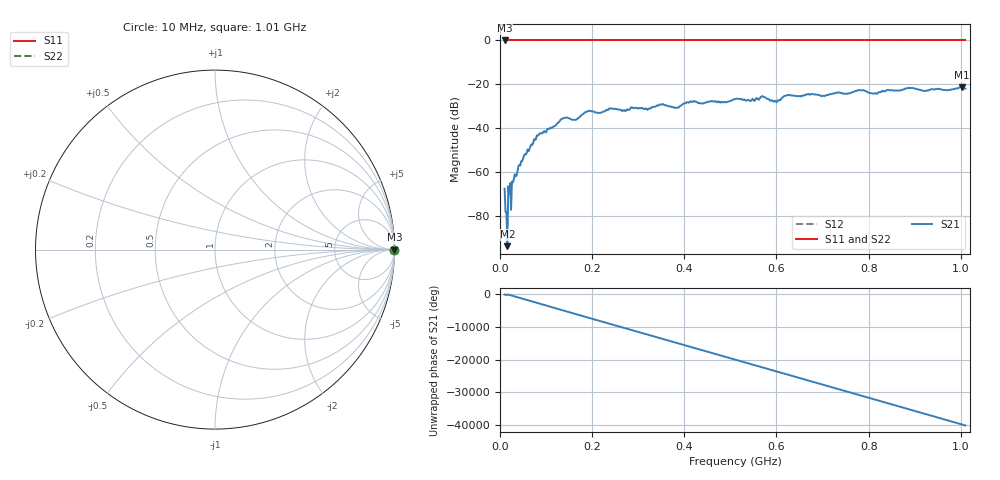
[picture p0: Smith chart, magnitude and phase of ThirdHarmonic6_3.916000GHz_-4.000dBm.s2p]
! 8/17/2025 1:48:24 PM
! C:\ANRITSUVNA\TEMP\TEMP.S2P
! CHANNEL.1
! TR.MEASUREMENT
! RAW.DATA
! RF.CORRECTION.OFF
! AVERAGING.OFF
! IF.BANDWIDTH: 5KHZ
! SWEEPTYPE:  FREQ.SWEEP(Linear)
! Reference Plane Port Info
! PORT:  PORT1  PORT2
! DISTANCE:  0  m  0  m
! TIME:  0  s  0  s
! PHASE.OFFSET:  0  deg.  0  deg.
! LOSS:  0  dB  0  dB
! REF.LOSS:  0  dB  0  dB
! REF.FREQ:  0  Hz  0  Hz
! Power Info
! POWER:  -20  dBm  -20  dBm
! EFF.POWER:  -20  dBm  -20  dBm
! SOURCE.ATTEN:  0  dB  0  dB
! TEST.ATTEN:  0  dB  0  dB
# GHZ S RI R 50.0
! FREQ.GHZ  S11RE  S11IM  S21RE  S21IM  S12RE  S12IM  S22RE  S22IM
!; PortSelection: Port_12
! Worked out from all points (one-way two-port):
!   501 points, 10 MHz to 1.01 GHz, reference 50 ohm
!   highest |S21| = -21.31 dB at 1.002 GHz (marker M1); lowest = -93.6 dB at 16 MHz (marker M2)
!   lowest |S11| = 0.0 dB at 10 MHz (marker M3)
!   |S11| at or under -10 dB: nowhere
!   |S22| runs from 0.0 to 0.0 dB; largest |S21 - S12| = 1.1
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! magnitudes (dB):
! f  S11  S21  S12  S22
! 10 MHz  0.0  -67.4  0.0  0.0
! 12 MHz  0.0  -78.0  0.0  0.0
! 16 MHz  0.0  -93.6  0.0  0.0
! 22 MHz  0.0  -64.9  0.0  0.0
! 28 MHz  0.0  -64.6  0.0  0.0
! 30 MHz  0.0  -63.3  0.0  0.0
! 42 MHz  0.0  -56.5  0.0  0.0
! 84 MHz  0.0  -43.0  0.0  0.0
! 136 MHz  0.0  -35.6  0.0  0.0
! 162 MHz  0.0  -36.1  0.0  0.0
! 178 MHz  0.0  -33.9  0.0  0.0
! 344 MHz  0.0  -29.6  0.0  0.0
! 384 MHz  0.0  -30.5  0.0  0.0
! 416 MHz  0.0  -27.9  0.0  0.0
! 510 MHz  0.0  -26.7  0.0  0.0
! 570 MHz  0.0  -25.4  0.0  0.0
! 598 MHz  0.0  -27.5  0.0  0.0
! 624 MHz  0.0  -24.9  0.0  0.0
! 678 MHz  0.0  -24.4  0.0  0.0
! 844 MHz  0.0  -22.6  0.0  0.0
! 1.002 GHz  0.0  -21.3  0.0  0.0
! 1.01 GHz  0.0  -21.9  0.0  0.0
